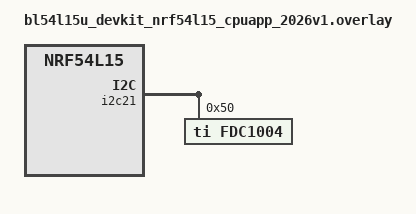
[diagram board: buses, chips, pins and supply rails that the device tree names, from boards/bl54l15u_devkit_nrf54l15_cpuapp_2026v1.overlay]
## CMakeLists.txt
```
cmake_minimum_required(VERSION 3.20.0)

# Custom board definitions in SW/boards/ (pass -DBOARD_ROOT=.. or set via module)
list(APPEND BOARD_ROOT ${CMAKE_CURRENT_SOURCE_DIR}/..)

# DT bindings for FDC1004
list(APPEND DTS_ROOT ${CMAKE_CURRENT_SOURCE_DIR})

# Out-of-tree FDC1004 driver
list(APPEND ZEPHYR_EXTRA_MODULES ${CMAKE_CURRENT_SOURCE_DIR}/drivers)

find_package(Zephyr HINTS $ENV{ZEPHYR_BASE})

project(soil_sensor)

option(TIDY "Run clang-tidy during build" OFF)
if(TIDY)
  set_target_properties(app PROPERTIES
    C_CLANG_TIDY "clang-tidy"
    CXX_CLANG_TIDY "clang-tidy"
  )
endif()

target_sources(app PRIVATE
    src/main.c
)
```

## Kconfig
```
mainmenu "Soil Sensor"

config SOIL_CAP_DRY_FF
	int "Dry soil capacitance (fF)"
	default 0
	help
	  Capacitance reading in dry soil, in femtofarad.
	  For example, 5000 means 5.0 pF.

config SOIL_CAP_WET_FF
	int "Saturated soil capacitance (fF)"
	default 100000
	help
	  Capacitance reading in saturated soil, in femtofarad.
	  For example, 100000 means 100.0 pF.

config APP_MEASUREMENT_INTERVAL_SEC
	int "Measurement interval (seconds)"
	default 60
	help
	  Time between measurements.

source "Kconfig.zephyr"
```

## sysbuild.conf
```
SB_CONFIG_BOOTLOADER_MCUBOOT=y
SB_CONFIG_BOOT_SIGNATURE_KEY_FILE="keys/dev.pem"
SB_CONFIG_MCUBOOT_SIGNATURE_USING_KMU=y
SB_CONFIG_PARTITION_MANAGER=n
```

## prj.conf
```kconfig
# Application features
CONFIG_APP_MEASUREMENT_INTERVAL_SEC=5

# BLE
CONFIG_BT=y
CONFIG_BT_DEVICE_NAME="Soil Sensor"
CONFIG_BT_PERIPHERAL=y

# NPM1304 PMIC
CONFIG_MFD=y
CONFIG_REGULATOR=y
CONFIG_WATCHDOG=y

CONFIG_GPIO=y
CONFIG_I2C=y
CONFIG_PINCTRL=y
CONFIG_SENSOR=y

# FDC1004 capacitance sensor
CONFIG_FDC1004=y

# GRTC timer
CONFIG_NRF_GRTC_TIMER=y

# Suspend devices when the CPU goes into sleep
CONFIG_PM=y
CONFIG_PM_DEVICE=y
CONFIG_PM_DEVICE_RUNTIME=y

# Power down unused SRAM sections
CONFIG_RAM_POWER_DOWN_LIBRARY=y

# Safety
CONFIG_MPU_STACK_GUARD=y

# MCUmgr OTA DFU over BLE
CONFIG_MCUMGR=y
CONFIG_MCUMGR_TRANSPORT_BT=y
CONFIG_MCUMGR_TRANSPORT_BT_REASSEMBLY=y
CONFIG_BT_L2CAP_TX_MTU=247
CONFIG_BT_BUF_ACL_TX_SIZE=251
CONFIG_BT_BUF_ACL_RX_SIZE=251
CONFIG_MCUMGR_GRP_IMG=y
CONFIG_MCUMGR_GRP_OS=y
CONFIG_MCUMGR_GRP_OS_BOOTLOADER_INFO=y
CONFIG_IMG_MANAGER=y
CONFIG_IMG_ERASE_PROGRESSIVELY=y
CONFIG_STREAM_FLASH=y
CONFIG_FLASH=y
CONFIG_FLASH_MAP=y
CONFIG_CRC=y
CONFIG_NET_BUF=y
CONFIG_ZCBOR=y
CONFIG_BOOTLOADER_MCUBOOT=y

# Stacks
CONFIG_MAIN_STACK_SIZE=4096
CONFIG_SYSTEM_WORKQUEUE_STACK_SIZE=2048

# Reduce image size
CONFIG_SIZE_OPTIMIZATIONS=y
CONFIG_LTO=y
CONFIG_ISR_TABLES_LOCAL_DECLARATION=y
```

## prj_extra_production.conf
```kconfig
# Kconfig overlay for production build
# Usage: west build -- -DEXTRA_CONF_FILE=prj_extra_production.conf -Dmcuboot_EXTRA_CONF_FILE=$PWD/sysbuild//mcuboot_extra_production.conf -DSB_EXTRA_CONF_FILE=sysbuild_extra_production.conf

# Enable flash protection
CONFIG_FPROTECT=y
```

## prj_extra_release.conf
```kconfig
# Kconfig overlay for release build with reduced power consumption
# Usage: west build -- -DEXTRA_CONF_FILE=prj_extra_release.conf

# Application features
CONFIG_APP_MEASUREMENT_INTERVAL_SEC=60

# Disable logging, shell, console, debug
CONFIG_LOG=n
CONFIG_LOG_MODE_MINIMAL=n
CONFIG_SHELL=n
CONFIG_CONSOLE=n
CONFIG_UART_CONSOLE=n
CONFIG_SERIAL=n
CONFIG_PRINTK=n
CONFIG_PRINTK_SYNC=n
CONFIG_BOOT_BANNER=n
CONFIG_NCS_BOOT_BANNER=n
CONFIG_USE_SEGGER_RTT=n
CONFIG_DEBUG=n
CONFIG_THREAD_NAME=n
CONFIG_ASSERT=n
CONFIG_ASSERT_VERBOSE=n
CONFIG_ASSERT_NO_FILE_INFO=y
CONFIG_RESET_ON_FATAL_ERROR=y
```

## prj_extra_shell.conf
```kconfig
# Kconfig overlay: interactive shell over RTT.
# Usage: west build -- -DEXTRA_CONF_FILE=prj_extra_shell.conf
#
# NOTE: the shell RX thread polls every CONFIG_SHELL_RTT_RX_POLL_PERIOD ms (10 ms default),
# which blocks deep sleep.

CONFIG_SHELL=y
CONFIG_SHELL_MINIMAL=y
CONFIG_SHELL_BACKEND_RTT=y
CONFIG_SHELL_BACKEND_SERIAL=n
CONFIG_SEGGER_RTT_BUFFER_SIZE_DOWN=256

CONFIG_USE_SEGGER_RTT=y
```

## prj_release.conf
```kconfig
# Application features
CONFIG_APP_MEASUREMENT_INTERVAL_SEC=60
```

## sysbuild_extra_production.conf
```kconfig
# Kconfig overlay for production build
# Usage: west build -- -DEXTRA_CONF_FILE=prj_extra_production.conf -Dmcuboot_EXTRA_CONF_FILE=sysbuild/mcuboot_extra_production.conf -DSB_EXTRA_CONF_FILE=sysbuild_extra_production.conf

# Sign with the production key
SB_CONFIG_BOOT_SIGNATURE_KEY_FILE="keys/prod.pem"

# Prevent reading device's memory to protect device keys
SB_CONFIG_APPROTECT_LOCK=y
```

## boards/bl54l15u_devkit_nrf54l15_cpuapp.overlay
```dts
/* Enable NPM1304 BUCK2 at boot (3.0V set in board DTS) */
&npm1304_buck2 {
	regulator-boot-on;
};

/* Enable NPM1304 LDO1 load switch to power the FDC1004 */
&npm1304_ldo1 {
	regulator-boot-on;
};
```

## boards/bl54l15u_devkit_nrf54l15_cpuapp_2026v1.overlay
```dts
/* 2026v1: FDC1004 on I2C21 (dedicated Qwiic J1 bus) */
&i2c21 {
	status = "okay";

	fdc1004: fdc1004@50 {
		compatible = "ti,fdc1004";
		reg = <0x50>;

		channel-0 {
			cha = <1>;   /* CIN2 */
			chb = <4>;   /* CAPDAC */
			capdac = <0>;
		};
	};
};
```

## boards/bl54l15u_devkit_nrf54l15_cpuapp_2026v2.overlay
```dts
/* 2026v2: FDC1004 on I2C20 (shared PMIC + Qwiic J1 bus, already enabled) */
&i2c20 {
	fdc1004: fdc1004@50 {
		compatible = "ti,fdc1004";
		reg = <0x50>;

		channel-0 {
			cha = <1>;   /* CIN2 */
			chb = <4>;   /* CAPDAC */
			capdac = <0>;
		};
	};
};
```

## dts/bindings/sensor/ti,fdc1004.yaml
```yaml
description: TI FDC1004 4-Channel Capacitance-to-Digital Converter

compatible: "ti,fdc1004"

include: [sensor-device.yaml, i2c-device.yaml]

properties:
  sample-rate:
    type: int
    default: 0
    description: |
      Sample rate setting (0=100Hz, 1=200Hz, 3=400Hz).

child-binding:
  description: Channel measurement configuration
  properties:
    cha:
      type: int
      required: true
      description: |
        Positive channel input (0=CIN1, 1=CIN2, 2=CIN3, 3=CIN4).
    chb:
      type: int
      required: true
      description: |
        Negative channel input (0=CIN1, 1=CIN2, 2=CIN3, 3=CIN4, 4=CAPDAC, 7=disabled).
    capdac:
      type: int
      required: true
      description: |
        CAPDAC offset value (0-31). Each step adds 3.125 pF offset.
```

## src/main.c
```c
#include <zephyr/kernel.h>
#include <zephyr/device.h>
#include <zephyr/drivers/sensor.h>
#include <zephyr/bluetooth/bluetooth.h>
#include <zephyr/bluetooth/conn.h>
#include <zephyr/bluetooth/uuid.h>
#include <zephyr/logging/log.h>
#include <zephyr/drivers/mfd/npm13xx.h>
#include <ram_pwrdn.h>

#include "bthome.h"

/* FDC1004 custom channel */
#include "../drivers/sensor/fdc1004/fdc1004.h"

LOG_MODULE_REGISTER(soil_sensor, LOG_LEVEL_INF);

/* Calibration constants from Kconfig (in fF, convert to pF) */
#define CAP_DRY_PF (CONFIG_SOIL_CAP_DRY_FF / 1000.0)
#define CAP_WET_PF (CONFIG_SOIL_CAP_WET_FF / 1000.0)

/* SMP service UUID (8d53dc1d-1db7-4cd3-868b-8a527460aa84) in little-endian */
#define SMP_SVC_UUID_BYTES                                                                         \
	0x84, 0xaa, 0x60, 0x74, 0x52, 0x8a, 0x8b, 0x86, 0xd3, 0x4c, 0xb7, 0x1d, 0x1d, 0xdc, 0x53,  \
		0x8d

/* Advertising data */
static struct bt_data ad[] = {
	BT_DATA_BYTES(BT_DATA_FLAGS, BT_LE_AD_GENERAL | BT_LE_AD_NO_BREDR),
	BT_DATA(BT_DATA_NAME_COMPLETE, CONFIG_BT_DEVICE_NAME, sizeof(CONFIG_BT_DEVICE_NAME) - 1),
	BT_DATA(BT_DATA_SVC_DATA16, NULL, 0),
};

/* Scan response data — SMP service UUID for DFU */
static struct bt_data sd[] = {
	BT_DATA_BYTES(BT_DATA_UUID128_ALL, SMP_SVC_UUID_BYTES),
};

/* Connectable advertising */
#define ADV_PARAM_CONN                                                                             \
	BT_LE_ADV_PARAM(BT_LE_ADV_OPT_USE_IDENTITY | BT_LE_ADV_OPT_CONN | BT_LE_ADV_OPT_CODED,     \
			BT_GAP_PER_ADV_SLOW_INT_MIN, BT_GAP_PER_ADV_SLOW_INT_MAX, NULL)

static const struct device *fdc1004 = DEVICE_DT_GET_ANY(ti_fdc1004);
static const struct device *charger = DEVICE_DT_GET_ANY(nordic_npm1304_charger);

static void update_advertisement(uint8_t packet_id, opt_u16 moisture, opt_u16 voltage)
{
	bthome_update_service_data(packet_id, moisture, voltage);
	ad[2] = (struct bt_data)BT_DATA(BT_DATA_SVC_DATA16, service_data,
					(uint8_t)service_data_len);

	/* Push updated data to the BLE stack */
	bt_le_adv_update_data(ad, ARRAY_SIZE(ad), sd, ARRAY_SIZE(sd));
}

static struct k_work advertise_work;

static void advertise(struct k_work *work)
{
	int rc = bt_le_adv_start(ADV_PARAM_CONN, ad, ARRAY_SIZE(ad), sd, ARRAY_SIZE(sd));
	if (rc) {
		LOG_ERR("Advertising failed to start (rc %d)", rc);
		return;
	}
	LOG_INF("Advertising successfully started");
}

static void bt_ready(int err)
{
	if (err) {
		LOG_ERR("Bluetooth init failed: %d", err);
		return;
	}
	k_work_submit(&advertise_work);
}

/* BLE connection callbacks */
static void connected(struct bt_conn *conn, uint8_t err)
{
	LOG_DBG("Connected");
}

static void disconnected(struct bt_conn *conn, uint8_t reason)
{
	LOG_DBG("Disconnected (reason %u)", reason);
}

static void recycled(void)
{
	LOG_DBG("BLE connection recycled");
	/* Restart advertising */
	k_work_submit(&advertise_work);
}

BT_CONN_CB_DEFINE(conn_callbacks) = {
	.connected = connected,
	.disconnected = disconnected,
	.recycled = recycled,
};

int main(void)
{
	power_down_unused_ram();

	int err;

	/* Set POF threshold to 3.1V (register base=0x01, offset=0x06, value=0x05) */
	const struct device *pmic = DEVICE_DT_GET_ANY(nordic_npm1304);

	if (pmic && device_is_ready(pmic)) {
		int ret = mfd_npm13xx_reg_write(pmic, 0x01, 0x06, 0x05);

		if (ret == 0) {
			LOG_INF("POF threshold set to 3.1V");
		} else {
			LOG_WRN("Failed to set POF threshold: %d", ret);
		}
	}

	if (!device_is_ready(fdc1004)) {
		LOG_ERR("FDC1004 not ready");
	}

	if (!device_is_ready(charger)) {
		LOG_WRN("NPM1304 charger not ready");
	}

	uint8_t cycle = 0;

	/* Start BLE advertising */
	k_work_init(&advertise_work, advertise);
	update_advertisement(cycle, opt_u16_none(), opt_u16_none());
	err = bt_enable(bt_ready);
	if (err) {
		LOG_ERR("Bluetooth init failed: %d", err);
		return -1;
	}

	while (true) {
		/* Read sensors */
		opt_u16 moisture = opt_u16_none();
		opt_u16 voltage = opt_u16_none();

		if (device_is_ready(fdc1004)) {
			struct sensor_value cap_val;

			err = sensor_sample_fetch(fdc1004);
			if (err) {
				LOG_ERR("FDC1004 fetch failed: %d", err);
			} else {
				err = sensor_channel_get(
					fdc1004,
					(enum sensor_channel)SENSOR_CHAN_FDC1004_CAPACITANCE_CH0,
					&cap_val);
				if (err) {
					LOG_ERR("FDC1004 channel get failed: %d", err);
				} else {
					double cap_pf = sensor_value_to_double(&cap_val);
					double moisture_pct = (cap_pf - CAP_DRY_PF) /
							      (CAP_WET_PF - CAP_DRY_PF) * 100.0;

					if (moisture_pct < 0.0) {
						moisture_pct = 0.0;
					} else if (moisture_pct > 100.0) {
						moisture_pct = 100.0;
					}

					moisture = opt_u16_some(moisture_pct * 100.0);
					LOG_INF("Capacitance: %d.%06d pF -> Moisture: %u.%02u %%",
						cap_val.val1, cap_val.val2, moisture.value / 100,
						moisture.value % 100);
				}
			}
		}

		if (device_is_ready(charger)) {
			struct sensor_value volt_val;

			err = sensor_sample_fetch(charger);
			if (err == 0) {
				err = sensor_channel_get(charger, SENSOR_CHAN_GAUGE_VOLTAGE,
							 &volt_val);
				if (err == 0) {
					/* sensor_value is in V (val1) + uV (val2)
					 * BTHome voltage: uint16 with factor 0.001 V (mV) */
					voltage = opt_u16_some(volt_val.val1 * 1000 +
							       volt_val.val2 / 1000);
					LOG_INF("Battery: %d.%03d V", voltage.value / 1000,
						voltage.value % 1000);
				}
			}
		}

		/* Update advertised BTHome data */
		update_advertisement(++cycle, moisture, voltage);

		/* Sleep main thread until next measurement */
		k_sleep(K_SECONDS(CONFIG_APP_MEASUREMENT_INTERVAL_SEC));
	}

	return 0;
}
```

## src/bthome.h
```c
#ifndef BTHOME_H_
#define BTHOME_H_

#include <stdbool.h>
#include <stddef.h>
#include <stdint.h>
#include <zephyr/sys/__assert.h>

/* BTHome v2 constants */
#define BTHOME_UUID        0xFCD2
#define BTHOME_DEVICE_INFO 0x40 /* Unencrypted, BTHome v2 */

/* BTHome object IDs */
#define BTHOME_OBJ_PACKET_ID 0x00 /* uint8, rolling counter */
#define BTHOME_OBJ_MOISTURE  0x14 /* uint16, factor 0.01 % */
#define BTHOME_OBJ_VOLTAGE   0x0C /* uint16, factor 0.001 V */

/* Full service data layout (object IDs must be in ascending order per BTHome v2):
 * [0-1] UUID 0xFCD2 (little-endian)
 * [2]   Device info: 0x40 (BTHome v2, unencrypted)
 * [3]   Object ID: packet_id (0x00)
 * [4]   Packet ID value (uint8)
 * [5]   Object ID: voltage (0x0C)
 * [6-7] Voltage value (uint16 LE, factor 0.001 V)
 * [8]   Object ID: moisture (0x14)
 * [9-10] Moisture value (uint16 LE, factor 0.01 %)
 */
#define SERVICE_DATA_MAX 11

static uint8_t service_data[SERVICE_DATA_MAX];
static size_t service_data_len;

typedef struct {
	uint16_t value;
	bool is_some;
} opt_u16;

static inline opt_u16 opt_u16_none()
{
	return (opt_u16){.value = 0, .is_some = false};
}

static inline opt_u16 opt_u16_some(uint16_t value)
{
	return (opt_u16){.value = value, .is_some = true};
}

static void bthome_update_service_data(uint8_t packet_id, opt_u16 moisture, opt_u16 voltage)
{
	size_t idx = 0;

	/* UUID (little-endian) */
	service_data[idx++] = (uint8_t)(BTHOME_UUID & 0xFF);
	service_data[idx++] = (uint8_t)(BTHOME_UUID >> 8);
	/* Device info */
	service_data[idx++] = BTHOME_DEVICE_INFO;

	/* Packet ID: uint8, rolling counter */
	service_data[idx++] = BTHOME_OBJ_PACKET_ID;
	service_data[idx++] = packet_id;

	if (voltage.is_some) {
		service_data[idx++] = BTHOME_OBJ_VOLTAGE;
		service_data[idx++] = (uint8_t)(voltage.value & 0xFF);
		service_data[idx++] = (uint8_t)((voltage.value >> 8) & 0xFF);
	}

	if (moisture.is_some) {
		service_data[idx++] = BTHOME_OBJ_MOISTURE;
		service_data[idx++] = (uint8_t)(moisture.value & 0xFF);
		service_data[idx++] = (uint8_t)((moisture.value >> 8) & 0xFF);
	}

	__ASSERT(idx <= SERVICE_DATA_MAX, "BTHome service data overflow");
	service_data_len = idx;
}

#endif /* BTHOME_H_ */
```
